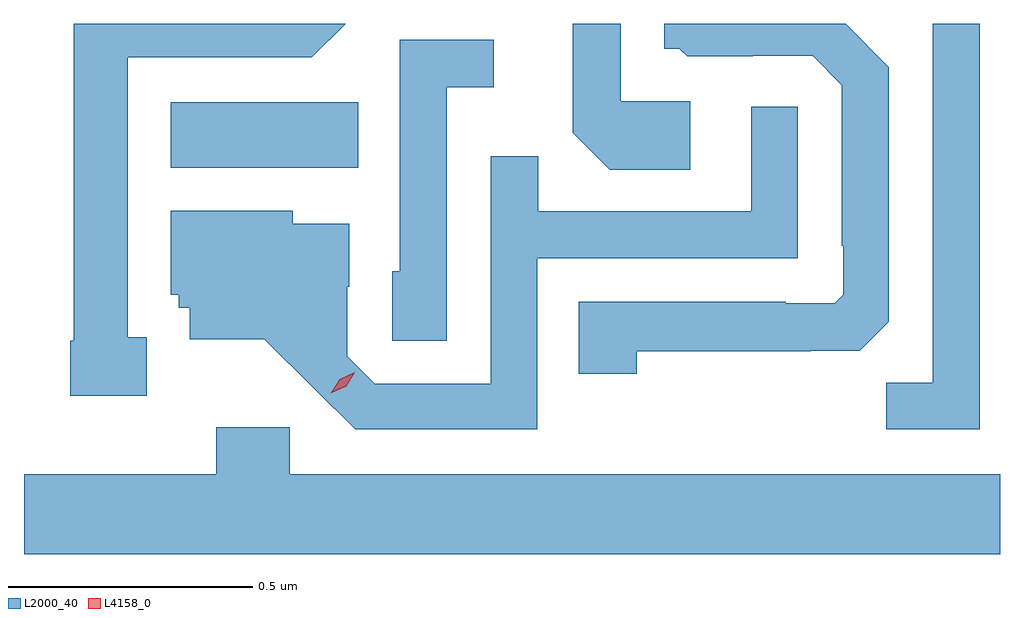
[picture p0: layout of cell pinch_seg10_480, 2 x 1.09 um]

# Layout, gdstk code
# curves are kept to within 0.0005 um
import gdstk
lib = gdstk.Library(unit=1e-6, precision=1e-09)
def R(c, l, rs):  # rectangles x0, y0, x1, y1
    for r in rs: c.add(gdstk.rectangle(r[:2], r[2:], *l))
def P(c, l, *ps):  # polygons
    for p in ps: c.add(gdstk.Polygon(p, *l))
L2000_40 = (2000, 40)
L4158_0 = (4158, 0)

pinch_seg10_480 = lib.new_cell('pinch_seg10_480')
R(pinch_seg10_480, L2000_40, [(346.94,1306.436,347.324,1306.57)])
P(pinch_seg10_480, L2000_40, [(348.597,1306.731),(348.501,1306.731),(348.501,1305.995),(348.406,1305.995),(348.406,1305.9),(348.597,1305.9)],
  [(346.891,1306.089),(346.852,1306.089),(346.852,1306.662),(347.229,1306.662),(347.298,1306.731),(346.741,1306.731),(346.741,1306.081),(346.734,1306.081),(346.734,1305.969),(346.891,1305.969)],
  [(348.004,1306.572),(347.862,1306.572),(347.862,1306.731),(347.763,1306.731),(347.763,1306.508),(347.839,1306.432),(348.004,1306.432)],
  [(347.895,1306.06),(348.251,1306.06),(348.251,1306.061),(348.352,1306.061),(348.411,1306.12),(348.411,1306.642),(348.323,1306.731),(347.951,1306.731),(347.951,1306.68),(347.982,1306.68),(347.998,1306.664),(348.132,1306.664),(348.132,1306.665),(348.255,1306.665),(348.315,1306.605),(348.315,1306.276),(348.318,1306.276),(348.318,1306.176),(348.3,1306.158),(348.2,1306.158),(348.2,1306.161),(347.776,1306.161),(347.776,1306.014),(347.895,1306.014)],
  [(347.505,1306.601),(347.602,1306.601),(347.602,1306.698),(347.409,1306.698),(347.409,1306.224),(347.394,1306.224),(347.394,1306.081),(347.505,1306.081)],
  [(347.691,1306.251),(348.225,1306.251),(348.225,1306.561),(348.129,1306.561),(348.129,1306.347),(347.693,1306.347),(347.693,1306.46),(347.595,1306.46),(347.595,1305.993),(347.358,1305.993),(347.301,1306.05),(347.301,1306.192),(347.305,1306.192),(347.305,1306.321),(347.19,1306.321),(347.19,1306.348),(346.94,1306.348),(346.94,1306.176),(346.956,1306.176),(346.956,1306.149),(346.979,1306.149),(346.979,1306.085),(347.131,1306.085),(347.318,1305.9),(347.691,1305.9)],
  [(348.639,1305.808),(347.184,1305.808),(347.184,1305.904),(347.033,1305.904),(347.033,1305.808),(346.639,1305.808),(346.639,1305.644),(348.639,1305.644)])
P(pinch_seg10_480, L4158_0, [(347.268,1305.974),(347.268,1305.974),(347.286,1306.003),(347.317,1306.017),(347.317,1306.017),(347.317,1306.017),(347.299,1305.988),(347.268,1305.974)])

lib.write_gds('pinch_seg10_480.gds')
